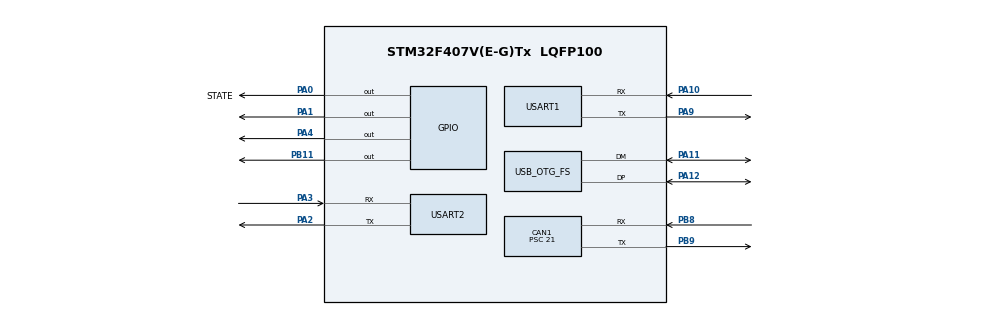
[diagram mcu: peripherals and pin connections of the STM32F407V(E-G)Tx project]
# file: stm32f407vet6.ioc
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CAN1.BS1=CAN_BS1_15TQ
CAN1.BS2=CAN_BS2_4TQ
CAN1.CalculateBaudRate=100000
CAN1.CalculateTimeBit=10000
CAN1.CalculateTimeQuantum=500.0
CAN1.Mode=CAN_MODE_LOOPBACK
CAN1.NART=ENABLE
CAN1.Prescaler=21
CAN1.SJW=CAN_SJW_1TQ
Dma.Request0=USART1_RX
Dma.Request1=USART1_TX
Dma.USART1_RX.0.Direction=DMA_PERIPH_TO_MEMORY
Dma.USART1_RX.0.FIFOMode=DMA_FIFOMODE_DISABLE
Dma.USART1_RX.0.Instance=DMA2_Stream2
Dma.USART1_RX.0.MemDataAlignment=DMA_MDATAALIGN_BYTE
Dma.USART1_RX.0.MemInc=DMA_MINC_ENABLE
Dma.USART1_RX.0.Mode=DMA_CIRCULAR
Dma.USART1_RX.0.PeriphDataAlignment=DMA_PDATAALIGN_BYTE
Dma.USART1_RX.0.PeriphInc=DMA_PINC_DISABLE
Dma.USART1_RX.0.Priority=DMA_PRIORITY_LOW
Dma.USART1_TX.1.Direction=DMA_MEMORY_TO_PERIPH
Dma.USART1_TX.1.FIFOMode=DMA_FIFOMODE_DISABLE
Dma.USART1_TX.1.Instance=DMA2_Stream7
Dma.USART1_TX.1.MemDataAlignment=DMA_MDATAALIGN_BYTE
Dma.USART1_TX.1.MemInc=DMA_MINC_ENABLE
Dma.USART1_TX.1.Mode=DMA_NORMAL
Dma.USART1_TX.1.PeriphDataAlignment=DMA_PDATAALIGN_BYTE
Dma.USART1_TX.1.PeriphInc=DMA_PINC_DISABLE
Dma.USART1_TX.1.Priority=DMA_PRIORITY_LOW
FREERTOS.Tasks01=defaultTask,0,128,StartDefaultTask,Default,NULL,Dynamic,NULL,NULL;myTask02,0,128,StartTask02,Default,NULL,Dynamic,NULL,NULL
FREERTOS.configENABLE_FPU=1
FREERTOS.configUSE_NEWLIB_REENTRANT=1
Mcu.Family=STM32F4
Mcu.Name=STM32F407V(E-G)Tx
Mcu.Package=LQFP100
NVIC.CAN1_RX0_IRQn=true\:5\:0\:false\:false\:true\:true\:true\:true\:true
NVIC.CAN1_TX_IRQn=true\:5\:0\:false\:false\:true\:true\:true\:true\:true
NVIC.DMA2_Stream2_IRQn=true\:5\:0\:false\:false\:true\:true\:false\:true\:true
NVIC.DMA2_Stream7_IRQn=true\:5\:0\:false\:false\:true\:true\:false\:true\:true
NVIC.OTG_FS_IRQn=true\:5\:0\:false\:false\:true\:true\:true\:true\:true
NVIC.PriorityGroup=NVIC_PRIORITYGROUP_4
NVIC.TIM6_DAC_IRQn=true\:15\:0\:false\:false\:true\:false\:false\:true\:true
NVIC.TimeBase=TIM6_DAC_IRQn
NVIC.TimeBaseIP=TIM6
NVIC.USART1_IRQn=true\:5\:0\:false\:false\:true\:true\:true\:true\:true
NVIC.USART2_IRQn=true\:5\:0\:false\:false\:true\:true\:true\:true\:true
PA0-WKUP.GPIO_Label=STATE
PA0-WKUP.Signal=GPIO_Output
PA1.Signal=GPIO_Output
PA10.Mode=Asynchronous
PA10.Signal=USART1_RX
PA11.Mode=Device_Only
PA11.Signal=USB_OTG_FS_DM
PA12.Mode=Device_Only
PA12.Signal=USB_OTG_FS_DP
PA13.Mode=Serial_Wire
PA13.Signal=SYS_JTMS-SWDIO
PA14.Mode=Serial_Wire
PA14.Signal=SYS_JTCK-SWCLK
PA2.Mode=Asynchronous
PA2.Signal=USART2_TX
PA3.Mode=Asynchronous
PA3.Signal=USART2_RX
PA4.Signal=GPIO_Output
PA9.Mode=Asynchronous
PA9.Signal=USART1_TX
PB10.Signal=SPI2_SCK
PB11.Signal=GPIO_Output
PB12.Signal=SPI2_NSS
PB14.Signal=SPI2_MISO
PB15.Signal=SPI2_MOSI
PB8.Mode=CAN_Activate
PB8.Signal=CAN1_RX
PB9.Mode=CAN_Activate
PB9.Signal=CAN1_TX
PC14-OSC32_IN.Mode=LSE-External-Oscillator
PC14-OSC32_IN.Signal=RCC_OSC32_IN
PC15-OSC32_OUT.Mode=LSE-External-Oscillator
PC15-OSC32_OUT.Signal=RCC_OSC32_OUT
PH0-OSC_IN.Mode=HSE-External-Oscillator
PH0-OSC_IN.Signal=RCC_OSC_IN
PH1-OSC_OUT.Mode=HSE-External-Oscillator
PH1-OSC_OUT.Signal=RCC_OSC_OUT
ProjectManager.HeapSize=0x200
ProjectManager.StackSize=0x400
ProjectManager.TargetToolchain=STM32CubeIDE
RCC.48MHZClocksFreq_Value=48000000
RCC.AHBFreq_Value=168000000
RCC.APB1CLKDivider=RCC_HCLK_DIV4
RCC.APB1Freq_Value=42000000
RCC.APB1TimFreq_Value=84000000
RCC.APB2CLKDivider=RCC_HCLK_DIV2
RCC.APB2Freq_Value=84000000
RCC.APB2TimFreq_Value=168000000
RCC.CortexFreq_Value=168000000
RCC.HCLKFreq_Value=168000000
RCC.HSE_VALUE=8000000
RCC.HSI_VALUE=16000000
RCC.PLLM=4
RCC.PLLN=168
RCC.PLLQ=7
RCC.SYSCLKFreq_VALUE=168000000
RCC.SYSCLKSource=RCC_SYSCLKSOURCE_PLLCLK
RCC.VCOOutputFreq_Value=336000000
USART1.VirtualMode=VM_ASYNC
USART2.VirtualMode=VM_ASYNC
USB_DEVICE.APP_RX_DATA_SIZE-CDC_FS=1024
USB_DEVICE.APP_TX_DATA_SIZE-CDC_FS=1024
USB_DEVICE.CLASS_NAME_FS=CDC
USB_DEVICE.VirtualMode-CDC_FS=Cdc
USB_DEVICE.VirtualModeFS=Cdc_FS
USB_OTG_FS.VirtualMode=Device_Only
VP_FREERTOS_VS_CMSIS_V1.Mode=CMSIS_V1
VP_SYS_VS_tim6.Mode=TIM6
VP_USB_DEVICE_VS_USB_DEVICE_CDC_FS.Mode=CDC_FS
board=custom

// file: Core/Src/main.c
/* USER CODE BEGIN Header */
/**
  ******************************************************************************
  * @file           : main.c
  * @brief          : Main program body
  ******************************************************************************
  * @attention
  *
  * Copyright (c) 2022 STMicroelectronics.
  * All rights reserved.
  *
  * This software is licensed under terms that can be found in the LICENSE file
  * in the root directory of this software component.
  * If no LICENSE file comes with this software, it is provided AS-IS.
  *
  ******************************************************************************
  */
/* USER CODE END Header */
#include "main.h"
#include "cmsis_os.h"
#include "can.h"
#include "dma.h"
#include "usart.h"
#include "usb_device.h"
#include "gpio.h"

void SystemClock_Config(void);
void MX_FREERTOS_Init(void);

int main(void)
{

  /* MCU Configuration--------------------------------------------------------*/

  /* Reset of all peripherals, Initializes the Flash interface and the Systick. */
  HAL_Init();

  /* Configure the system clock */
  SystemClock_Config();

  /* Initialize all configured peripherals */
  MX_GPIO_Init();
  MX_DMA_Init();
  MX_USART1_UART_Init();
  MX_CAN1_Init();
  MX_USART2_UART_Init();

  /* Call init function for freertos objects (in freertos.c) */
  MX_FREERTOS_Init();

  /* Start scheduler */
  osKernelStart();

  /* We should never get here as control is now taken by the scheduler */
  /* Infinite loop */
  while (1)
  {

  }
}

void SystemClock_Config(void)
{
  LL_FLASH_SetLatency(LL_FLASH_LATENCY_5);
  while(LL_FLASH_GetLatency()!= LL_FLASH_LATENCY_5)
  {
  }
  LL_PWR_SetRegulVoltageScaling(LL_PWR_REGU_VOLTAGE_SCALE1);
  LL_RCC_HSE_Enable();

   /* Wait till HSE is ready */
  while(LL_RCC_HSE_IsReady() != 1)
  {

  }
  LL_RCC_PLL_ConfigDomain_SYS(LL_RCC_PLLSOURCE_HSE, LL_RCC_PLLM_DIV_4, 168, LL_RCC_PLLP_DIV_2);
  LL_RCC_PLL_ConfigDomain_48M(LL_RCC_PLLSOURCE_HSE, LL_RCC_PLLM_DIV_4, 168, LL_RCC_PLLQ_DIV_7);
  LL_RCC_PLL_Enable();

   /* Wait till PLL is ready */
  while(LL_RCC_PLL_IsReady() != 1)
  {

  }
  LL_RCC_SetAHBPrescaler(LL_RCC_SYSCLK_DIV_1);
  LL_RCC_SetAPB1Prescaler(LL_RCC_APB1_DIV_4);
  LL_RCC_SetAPB2Prescaler(LL_RCC_APB2_DIV_2);
  LL_RCC_SetSysClkSource(LL_RCC_SYS_CLKSOURCE_PLL);

   /* Wait till System clock is ready */
  while(LL_RCC_GetSysClkSource() != LL_RCC_SYS_CLKSOURCE_STATUS_PLL)
  {

  }
  LL_SetSystemCoreClock(168000000);

   /* Update the time base */
  if (HAL_InitTick (TICK_INT_PRIORITY) != HAL_OK)
  {
    Error_Handler();
  }
}

void HAL_TIM_PeriodElapsedCallback(TIM_HandleTypeDef *htim)
{
  if (htim->Instance == TIM6) {
    HAL_IncTick();
  }
}

void Error_Handler(void)
{
  __disable_irq();
  while (1)
  {
  }
}

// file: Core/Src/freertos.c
/* USER CODE BEGIN Header */
/**
  ******************************************************************************
  * File Name          : freertos.c
  * Description        : Code for freertos applications
  ******************************************************************************
  * @attention
  *
  * Copyright (c) 2022 STMicroelectronics.
  * All rights reserved.
  *
  * This software is licensed under terms that can be found in the LICENSE file
  * in the root directory of this software component.
  * If no LICENSE file comes with this software, it is provided AS-IS.
  *
  ******************************************************************************
  */
/* USER CODE END Header */

#include "FreeRTOS.h"
#include "task.h"
#include "main.h"
#include "cmsis_os.h"

/* USER CODE BEGIN PD */
extern CAN_HandleTypeDef hcan1;

/* USER CODE BEGIN Private defines */
extern CAN_FilterTypeDef canFilter1;
extern CAN_RxHeaderTypeDef canRxHeader;
extern CAN_TxHeaderTypeDef canTxHeader;
extern uint8_t can1Rx0Data[8];
extern uint32_t TxMailBox;
extern uint8_t can1Tx0Data[8];

static void canSendTest();

/* USER CODE END PD */

osThreadId defaultTaskHandle;
osThreadId myTask02Handle;

void StartDefaultTask(void const * argument);
void StartTask02(void const * argument);

extern void MX_USB_DEVICE_Init(void);
void MX_FREERTOS_Init(void); /* (MISRA C 2004 rule 8.1) */

/* GetIdleTaskMemory prototype (linked to static allocation support) */
void vApplicationGetIdleTaskMemory( StaticTask_t **ppxIdleTaskTCBBuffer, StackType_t **ppxIdleTaskStackBuffer, uint32_t *pulIdleTaskStackSize );

/* USER CODE BEGIN GET_IDLE_TASK_MEMORY */
static StaticTask_t xIdleTaskTCBBuffer;
static StackType_t xIdleStack[configMINIMAL_STACK_SIZE];

void vApplicationGetIdleTaskMemory( StaticTask_t **ppxIdleTaskTCBBuffer, StackType_t **ppxIdleTaskStackBuffer, uint32_t *pulIdleTaskStackSize )
{
  *ppxIdleTaskTCBBuffer = &xIdleTaskTCBBuffer;
  *ppxIdleTaskStackBuffer = &xIdleStack[0];
  *pulIdleTaskStackSize = configMINIMAL_STACK_SIZE;
  /* place for user code */
}
/* USER CODE END GET_IDLE_TASK_MEMORY */

void MX_FREERTOS_Init(void) {

  /* Create the thread(s) */
  /* definition and creation of defaultTask */
  osThreadDef(defaultTask, StartDefaultTask, osPriorityNormal, 0, 128);
  defaultTaskHandle = osThreadCreate(osThread(defaultTask), NULL);

  /* definition and creation of myTask02 */
  osThreadDef(myTask02, StartTask02, osPriorityNormal, 0, 128);
  myTask02Handle = osThreadCreate(osThread(myTask02), NULL);

}

void StartDefaultTask(void const * argument)
{
  /* init code for USB_DEVICE */
  MX_USB_DEVICE_Init();
  /* USER CODE BEGIN StartDefaultTask */
  /* Infinite loop */
  for(;;)
  {
    HAL_GPIO_TogglePin(GPIOA, GPIO_PIN_0);
    osDelay(1000);
  }
  /* USER CODE END StartDefaultTask */
}

void StartTask02(void const * argument)
{
  /* USER CODE BEGIN StartTask02 */
  HAL_CAN_Start(&hcan1);

  if (HAL_CAN_ConfigFilter(&hcan1, &canFilter1) == HAL_OK)
  {
    HAL_CAN_ActivateNotification(&hcan1, CAN_IT_RX_FIFO0_MSG_PENDING);
  }

/*  canTxHeader.StdId = 0x102;
  canTxHeader.RTR = CAN_RTR_DATA;
  canTxHeader.IDE = CAN_ID_STD;
  canTxHeader.DLC = 8;
  for (int i=0; i<8;i++) can1Tx0Data[i]++;

  TxMailBox = HAL_CAN_GetTxMailboxesFreeLevel(&hcan1);
  HAL_CAN_AddTxMessage(&hcan1, &canTxHeader, &can1Tx0Data[0], &TxMailBox);*/

  /* Infinite loop */
  for(;;)
  {
    HAL_GPIO_TogglePin(GPIOA, GPIO_PIN_7);
    canSendTest();

    osDelay(500);
  }
  /* USER CODE END StartTask02 */
}

/* USER CODE BEGIN Application */

void HAL_CAN_RxFifo0MsgPendingCallback(CAN_HandleTypeDef *hcan)
{
  if (hcan->Instance == CAN1)
  {
    HAL_CAN_GetRxMessage(&hcan1, CAN_RX_FIFO0, &canRxHeader, &can1Rx0Data[0]);
  }
}

void canSendTest()
{
  canTxHeader.StdId = 0x102;
  canTxHeader.RTR = CAN_RTR_DATA;
  canTxHeader.IDE = CAN_ID_STD;
  canTxHeader.DLC = 8;
  for (int i=0; i<8;i++) can1Tx0Data[i]++;

  TxMailBox = HAL_CAN_GetTxMailboxesFreeLevel(&hcan1);
  HAL_CAN_AddTxMessage(&hcan1, &canTxHeader, &can1Tx0Data[0], &TxMailBox);

}
/* USER CODE END Application */
